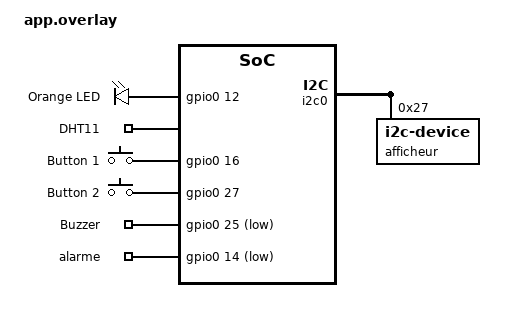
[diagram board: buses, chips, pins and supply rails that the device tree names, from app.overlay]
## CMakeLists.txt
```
cmake_minimum_required(VERSION 3.20.0)

find_package(Zephyr REQUIRED HINTS
$ENV{ZEPHYR_BASE})
project(VN)

target_sources(app PRIVATE
    src/main.c
    src/lcd_screen_i2c.c
)
```

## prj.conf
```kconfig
# Sensor
CONFIG_I2C=y
CONFIG_SENSOR=y
CONFIG_ADC=y
CONFIG_GPIO=y

# float support
CONFIG_CBPRINTF_FP_SUPPORT=y
```

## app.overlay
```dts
/ {
    leds {
        compatible = "gpio-leds";
        ledorange: led_orange {
            gpios = <&gpio0 12 GPIO_ACTIVE_HIGH>;
            label = "Orange LED";
        }; 
    };

    gpio_keys {
        compatible = "gpio-keys";

        dht11: dht11 {
            compatible = "aosong,dht";
            status = "okay";
            dio-gpios = <&gpio0 17 GPIO_ACTIVE_LOW>;
            label = "DHT11";
        };

        button1: button_1 {
            gpios = <&gpio0 16 GPIO_ACTIVE_HIGH>;
            label = "Button 1";
        };

        button2: button_2 {
            gpios = <&gpio0 27 GPIO_ACTIVE_HIGH>;
            label = "Button 2";
        };

        buzzer: buzzer_pin {
            gpios = <&gpio0 25 GPIO_ACTIVE_LOW>;
            label = "Buzzer";
        };       
        
        alarme: alarme_pin {
            gpios = <&gpio0 14 GPIO_ACTIVE_LOW>;
            label = "alarme";
        };
    };

    aliases {
        led-orange = &ledorange;
        afficheur-print = &afficheur;
        btn1 = &button1;
        btn2 = &button2;
        buzzer = &buzzer;
        dht = &dht11;
        alarme=&alarme;
    };
};

&i2c0 {
    afficheur: afficheur@27 {
        compatible = "i2c-device";
        reg = <0x27>;
    };
};
```

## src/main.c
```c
// main.c
#include <zephyr/kernel.h>
#include <zephyr/drivers/gpio.h>
#include <stdio.h>
#include <zephyr/drivers/i2c.h>
#include <zephyr/drivers/sensor.h>
#include <zephyr/device.h>
#include "../inc/lcd_screen_i2c.h"

#define BUZZER_PIN DT_ALIAS(buzzer)
#define LED_ORANGE_NODE DT_ALIAS(led_orange)
#define AFFICHEUR_NODE DT_ALIAS(afficheur_print)
// #define BUTTON1_NODE DT_ALIAS(btn1)
// #define BUTTON2_NODE DT_ALIAS(btn2)
#define BUZZER_TOGGLE_PERIOD K_MSEC(1)
#define ALARM_NODE DT_ALIAS(alarme)
#define DT_SPEC_AND_COMMA(node_id, prop, idx) \
    ADC_DT_SPEC_GET_BY_IDX(node_id, idx),

static bool alarmeOK = false;
static bool alarmeNOK = false;

const struct gpio_dt_spec presence_sensor_gpio = GPIO_DT_SPEC_GET_OR(ALARM_NODE, gpios, {0});
// const struct gpio_dt_spec button_gpio = GPIO_DT_SPEC_GET_OR(BUTTON_NODE, gpios, {0});
const struct gpio_dt_spec buzzer_gpio = GPIO_DT_SPEC_GET_OR(BUZZER_PIN, gpios, {0});
const struct gpio_dt_spec led_orange_gpio = GPIO_DT_SPEC_GET_OR(LED_ORANGE_NODE, gpios, {0});
const struct i2c_dt_spec afficheur = I2C_DT_SPEC_GET(AFFICHEUR_NODE);
const struct device *const dht11 = DEVICE_DT_GET_ONE(aosong_dht);

static struct k_work button_work;
// static const struct adc_dt_spec adc_channels[]={
//  DT_FOREACH_PROP_ELEM(DT_PATH(zephyr_user),io_channels,DT_SPEC_AND_COMMA);}
static struct gpio_callback button_callback_data;
static struct gpio_callback button_callback_data2;

void button_isr(const struct device *dev, struct gpio_callback *cb, uint32_t pins)
{
    k_work_submit(&button_work);
}

/*void button_pressed_handler(struct k_work *work)
{
    write_lcd(&afficheur,"", LCD_LINE_1);
    write_lcd(&afficheur,"", LCD_LINE_2);
    write_lcd(&afficheur, "MONNNSTREEE !!", LCD_LINE_1);
}*/

void button_pressed()
{
    printf("bouton 16 pressé !\n");
    alarmeOK = true;
}
void button_pressed2()
{
    printf("bouton 27 pressé !\n");
    alarmeNOK = true;
}
////////////////////////////////

int main(void)
{

    gpio_pin_configure_dt(&led_orange_gpio, GPIO_OUTPUT_HIGH);

    // gpio_pin_configure_dt(&button_gpio, GPIO_INPUT);
    // gpio_pin_interrupt_configure_dt(&button_gpio, GPIO_INT_EDGE_TO_ACTIVE);

    // static struct gpio_callback button_cb_data;
    // gpio_init_callback(&button_cb_data, button_isr, BIT(button_gpio.pin));
    // gpio_add_callback(button_gpio.port, &button_cb_data);

    // k_work_init(&button_work, button_pressed_handler);

    ///////////////////////////////////////////
    while (5)
    {
        k_sleep(K_SECONDS(1));
        struct sensor_value temp, humidity;

        sensor_sample_fetch(dht11);
        sensor_channel_get(dht11, SENSOR_CHAN_AMBIENT_TEMP, &temp);
        sensor_channel_get(dht11, SENSOR_CHAN_HUMIDITY, &humidity);

        printk("temp: %d.%06d; humidity: %d.%06d\n", temp.val1, temp.val2, humidity.val1, humidity.val2);
        // double temp_d = sensor_value_to_double(&temp);
        // double humidity_d = sensor_value_to_double(&humidity);
        // printf('test');
        // printf("Temp: %d ; Humidity %d %% ",temp.val1,humidity.val1);
    }
}

////////////////////

void alarm_button_thread()
{
    int count = 0;

    const struct gpio_dt_spec button_gpio = GPIO_DT_SPEC_GET_OR(DT_ALIAS(btn1), gpios, {0});

    gpio_pin_configure(button_gpio.port, button_gpio.pin, GPIO_INPUT | button_gpio.dt_flags);
    gpio_init_callback(&button_callback_data, button_pressed, BIT(button_gpio.pin));
    gpio_add_callback(button_gpio.port, &button_callback_data);
    gpio_pin_interrupt_configure(button_gpio.port, button_gpio.pin, GPIO_INT_EDGE_TO_ACTIVE);

    const struct gpio_dt_spec button_gpio2 = GPIO_DT_SPEC_GET_OR(DT_ALIAS(btn2), gpios, {0});

    gpio_pin_configure(button_gpio2.port, button_gpio2.pin, GPIO_INPUT | button_gpio2.dt_flags);
    gpio_init_callback(&button_callback_data2, button_pressed2, BIT(button_gpio2.pin));
    gpio_add_callback(button_gpio2.port, &button_callback_data2);
    gpio_pin_interrupt_configure(button_gpio2.port, button_gpio2.pin, GPIO_INT_EDGE_TO_ACTIVE);

    gpio_pin_configure_dt(&buzzer_gpio, GPIO_OUTPUT_LOW);
    init_lcd(&afficheur);
    while (1)
    {
        gpio_pin_configure_dt(&presence_sensor_gpio, GPIO_INPUT);
        // Lire la valeur du capteur de présence
        int presence = gpio_pin_get(presence_sensor_gpio.port, presence_sensor_gpio.pin);
        if (alarmeOK)
        {
            // write_lcd(&afficheur, MODE_ALARME, LCD_LINE_1);

            if (presence)
            {
                printf("Présence détectée\n");
                gpio_pin_set_dt(&buzzer_gpio, 1);
                k_sleep(BUZZER_TOGGLE_PERIOD);K_THREAD_DEFINE(alarm_button_id, 521, alarm_button_thread, NULL, NULL, NULL, 9, 0, 0);

                gpio_pin_set_dt(&buzzer_gpio, 0);
                k_sleep(BUZZER_TOGGLE_PERIOD);

                count++;

                if (count == 5)K_THREAD_DEFINE(alarm_button_id, 521, alarm_button_thread, NULL, NULL, NULL, 9, 0, 0);

                {
                    write_lcd(&afficheur, " ATTENTION !!!! ", LCD_LINE_1);
                    write_lcd(&afficheur, "DANGER INTRU !!!", LCD_LINE_2);
                }
            }
            else
            {
                printf("Pas de présence\n");
                write_lcd(&afficheur, "   Mode Alarme  ", LCD_LINE_1);
                write_lcd(&afficheur, "     Active !   ", LCD_LINE_2);
                count = 0;
            }
        }

        if (alarmeNOK)
        {
            write_lcd(&afficheur, " BIENVENUE CHEZ ", LCD_LINE_1);
            write_lcd(&afficheur, " NATH ET VICO ! ", LCD_LINE_2);
            alarmeOK = false;
            alarmeNOK = false;
        }

    }
}

K_THREAD_DEFINE(alarm_button_id, 521, alarm_button_thread, NULL, NULL, NULL, 9, 0, 0);

////////////////////////////////
```

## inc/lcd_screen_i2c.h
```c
#ifndef INC_LDC_SCREEN_I2C_H_
#define INC_LDC_SCREEN_I2C_H_

#include <zephyr/types.h>

struct i2c_dt_spec;

#define LCD_BACKLIGHT 0x08
#define LCD_CMD 0x00
#define LCD_CHR 0x01
#define LCD_ENABLE 0b00000100
#define LCD_LINE_1 0x80 // Select line 1
#define LCD_LINE_2 0xc0 // Select line 2
#define LCD_WIDTH 16 // Max number of carac per lines

#define HELLO_MSG "Bienvenue chez "
#define ZEPHYR_MSG "Nath et Vico ! "

#define START_ALERT_MONITORING_MSG_1 "Alarm"
#define START_ALERT_MONITORING_MSG_2 "Protection"

#define INTRUDER_MSG_1 "INTRUDER"
#define INTRUDER_MSG_2 "LEAVE !"

void init_lcd(const struct i2c_dt_spec *_dev_lcd_screen);
void write_lcd(const struct i2c_dt_spec *dev_lcd_screen, const char *msg, uint8_t line);
void write_lcd_clear(const struct i2c_dt_spec *dev_lcd_screen, const char *msg, uint8_t line);

#endif // INC_LDC_SCREEN_I2C_H_
```

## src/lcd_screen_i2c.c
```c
#include "../inc/lcd_screen_i2c.h"
#include <zephyr/drivers/i2c.h>
#include <zephyr/kernel.h>

static void lcd_toggle_enable(const struct i2c_dt_spec *dev_lcd_screen, uint8_t bits);

static void lcd_byte(const struct i2c_dt_spec *dev_lcd_screen, uint8_t bits, uint8_t mode);

void init_lcd(const struct i2c_dt_spec *dev_lcd_screen)
{
 lcd_byte(dev_lcd_screen, 0x33, LCD_CMD);
 lcd_byte(dev_lcd_screen, 0x32, LCD_CMD);
 lcd_byte(dev_lcd_screen, 0x06, LCD_CMD);
 lcd_byte(dev_lcd_screen, 0x0c, LCD_CMD);
 lcd_byte(dev_lcd_screen, 0x28, LCD_CMD);
 lcd_byte(dev_lcd_screen, 0x01, LCD_CMD);
 write_lcd(dev_lcd_screen, HELLO_MSG, LCD_LINE_1);
 write_lcd(dev_lcd_screen, ZEPHYR_MSG, LCD_LINE_2);
}

static void lcd_byte(const struct i2c_dt_spec *dev_lcd_screen, uint8_t bits, uint8_t mode)
{
 int ret = 0;
 uint8_t bits_high = mode | (bits & 0xf0) | LCD_BACKLIGHT;
 uint8_t bits_low = mode | ((bits << 4) & 0xf0) | LCD_BACKLIGHT;
 ret = i2c_write_dt(dev_lcd_screen, &bits_high, sizeof(bits_high));
 if (ret != 0)
 {
 printk("ERROR while writing to I2C");
 }
 lcd_toggle_enable(dev_lcd_screen, bits_high);

 ret = i2c_write_dt(dev_lcd_screen, &bits_low, sizeof(bits_low));
 if (ret != 0)
 {
 printk("ERROR while writing to I2C");
 }
 lcd_toggle_enable(dev_lcd_screen, bits_low);
}

void write_lcd(const struct i2c_dt_spec *dev_lcd_screen, const char *msg, uint8_t line)
{
 lcd_byte(dev_lcd_screen, line, LCD_CMD);

 // Todo: fill the array with space at the end to complete the line

 if (strlen(msg) > LCD_WIDTH)
 {
 return;
 }
 for (uint8_t i = 0; i < strlen(msg); i++)
 {
 lcd_byte(dev_lcd_screen, msg[i], LCD_CHR);
 }
}

static void lcd_toggle_enable(const struct i2c_dt_spec *dev_lcd_screen, uint8_t bits)
{
 int ret = 0;
 k_sleep(K_MSEC(5));
 uint8_t bits1 = bits | LCD_ENABLE;
 ret = i2c_write_dt(dev_lcd_screen, &bits1, sizeof(bits1));
 if (ret != 0)
 {
 printk("ERROR while writing to I2C");
 }
 k_sleep(K_MSEC(5));
 uint8_t bits2 = bits & ~LCD_ENABLE;
 ret = i2c_write_dt(dev_lcd_screen, &bits2, sizeof(bits2));
 if (ret != 0)
 {
 printk("ERROR while writing to I2C");
 }
 k_sleep(K_MSEC(5));
}
```
